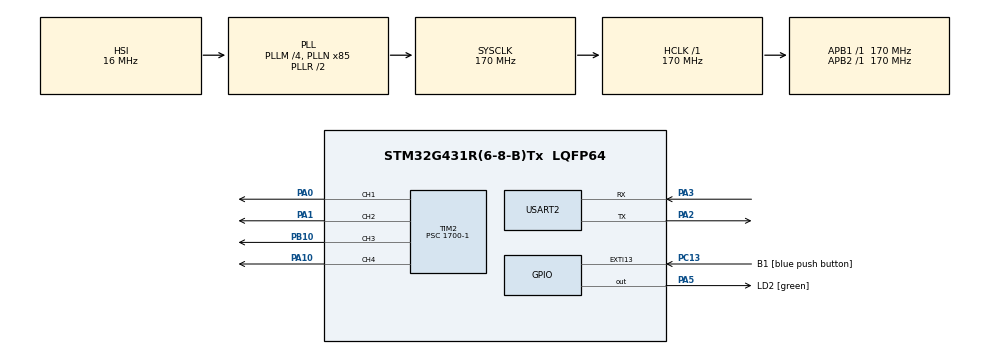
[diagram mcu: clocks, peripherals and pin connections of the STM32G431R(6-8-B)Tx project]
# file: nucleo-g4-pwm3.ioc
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Mcu.Family=STM32G4
Mcu.Name=STM32G431R(6-8-B)Tx
Mcu.Package=LQFP64
Mcu.UserConstants=SAMPLE_RANGE,1000
NVIC.PriorityGroup=NVIC_PRIORITYGROUP_4
NVIC.TIM2_IRQn=true\:0\:0\:false\:false\:true\:true\:true\:true
NVIC.USART2_IRQn=true\:0\:0\:false\:false\:true\:true\:true\:true
PA0.Signal=S_TIM2_CH1
PA1.Signal=S_TIM2_CH2
PA10.Signal=S_TIM2_CH4
PA13.GPIO_Label=T_SWDIO
PA13.Signal=SYS_JTMS-SWDIO
PA14.GPIO_Label=T_SWCLK
PA14.Signal=SYS_JTCK-SWCLK
PA2.Mode=Asynchronous
PA2.Signal=USART2_TX
PA3.Mode=Asynchronous
PA3.Signal=USART2_RX
PA5.GPIO_Label=LD2 [green]
PA5.Signal=GPIO_Output
PB10.Signal=S_TIM2_CH3
PB3.GPIO_Label=T_SWO
PB3.Signal=SYS_JTDO-SWO
PC13.GPIO_Label=B1 [blue push button]
PC13.Signal=GPXTI13
PC14-OSC32_IN.GPIO_Label=RCC_OSC32_OUT
PC14-OSC32_IN.Signal=RCC_OSC32_IN
PC15-OSC32_OUT.GPIO_Label=RCC_OSC32_OUT
PC15-OSC32_OUT.Signal=RCC_OSC32_OUT
PF0-OSC_IN.GPIO_Label=RCC_OSC_IN
PF0-OSC_IN.Signal=RCC_OSC_IN
PF1-OSC_OUT.GPIO_Label=RCC_OSC_OUT
PF1-OSC_OUT.Signal=RCC_OSC_OUT
ProjectManager.HeapSize=0x200
ProjectManager.StackSize=0x400
ProjectManager.TargetToolchain=STM32CubeIDE
RCC.ADC12Freq_Value=170000000
RCC.AHBFreq_Value=170000000
RCC.APB1Freq_Value=170000000
RCC.APB1TimFreq_Value=170000000
RCC.APB2Freq_Value=170000000
RCC.APB2TimFreq_Value=170000000
RCC.CortexFreq_Value=170000000
RCC.EXTERNAL_CLOCK_VALUE=12288000
RCC.HCLKFreq_Value=170000000
RCC.HSE_VALUE=24000000
RCC.HSI48_VALUE=48000000
RCC.HSI_VALUE=16000000
RCC.LSE_VALUE=32768
RCC.PLLM=RCC_PLLM_DIV4
RCC.PLLN=85
RCC.RTCClockSelection=RCC_RTCCLKSOURCE_LSE
RCC.SYSCLKFreq_VALUE=170000000
RCC.SYSCLKSource=RCC_SYSCLKSOURCE_PLLCLK
RCC.USBFreq_Value=170000000
RCC.VCOOutputFreq_Value=340000000
SH.S_TIM2_CH1.0=TIM2_CH1,PWM Generation1 CH1
SH.S_TIM2_CH2.0=TIM2_CH2,PWM Generation2 CH2
SH.S_TIM2_CH3.0=TIM2_CH3,PWM Generation3 CH3
SH.S_TIM2_CH4.0=TIM2_CH4,PWM Generation4 CH4
TIM2.Channel-PWM\ Generation1\ CH1=TIM_CHANNEL_1
TIM2.Channel-PWM\ Generation2\ CH2=TIM_CHANNEL_2
TIM2.Channel-PWM\ Generation3\ CH3=TIM_CHANNEL_3
TIM2.Channel-PWM\ Generation4\ CH4=TIM_CHANNEL_4
TIM2.PeriodNoDither=SAMPLE_RANGE - 1
TIM2.Prescaler=1700-1
USART2.VirtualMode-Asynchronous=VM_ASYNC
VP_SYS_VS_DBSignals.Mode=DisableDeadBatterySignals
VP_TIM2_VS_ClockSourceINT.Mode=Internal
board=NUCLEO-G431RB

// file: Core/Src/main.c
/* USER CODE BEGIN Header */
/**
  ******************************************************************************
  * @file           : main.c
  * @brief          : Main program body
  ******************************************************************************
  * @attention
  *
  * Copyright (c) 2025 STMicroelectronics.
  * All rights reserved.
  *
  * This software is licensed under terms that can be found in the LICENSE file
  * in the root directory of this software component.
  * If no LICENSE file comes with this software, it is provided AS-IS.
  *
  ******************************************************************************
  */
/* USER CODE END Header */
#include "main.h"

/* USER CODE BEGIN Includes */
#include <stdio.h>
#include <math.h>

/* USER CODE END Includes */

/* USER CODE BEGIN PD */
#define SAMPLE_DELAY 10 // [ms]
#define SAMPLE_FREQ (1000 / SAMPLE_DELAY)
#define SAMPLE_MID (SAMPLE_RANGE / 2)

/* USER CODE END PD */

TIM_HandleTypeDef htim2;

UART_HandleTypeDef huart2;

/* USER CODE BEGIN PV */

uint32_t callback_counter = 0;

uint32_t led_channels[] = {
		TIM_CHANNEL_1,
		TIM_CHANNEL_2,
		TIM_CHANNEL_3,
		TIM_CHANNEL_4
};

float angles[] = {
		0,
		0,
		0,
		0
};

float angle_changes[] = {
		1 + (2 * M_PI / SAMPLE_FREQ),
		2 + (2 * M_PI / SAMPLE_FREQ),
		0.5 + (2 * M_PI / SAMPLE_FREQ),
		0.25 + (2 * M_PI / SAMPLE_FREQ)
};

/* USER CODE END PV */

void SystemClock_Config(void);
static void MX_GPIO_Init(void);
static void MX_USART2_UART_Init(void);
static void MX_TIM2_Init(void);

/* USER CODE BEGIN 0 */

// Send printf to uart2
int _write(int fd, char *ptr, int len) {
	HAL_StatusTypeDef hstatus;

	if(fd == 1 || fd == 2) {
		hstatus = HAL_UART_Transmit(&huart2, (uint8_t*) ptr, len, HAL_MAX_DELAY);
		if(hstatus == HAL_OK) {
			return len;
		}
		else {
			return -1;
		}
	}
	return -1;
}

inline void HAL_TIM_PWM_PulseFinishedCallback(TIM_HandleTypeDef *htim){
	if(htim->Instance == TIM2){
		callback_counter++;

		for(int i = 0; i < sizeof(angles) / sizeof(angles[0]); ++i){
		  angles[i] += angle_changes[i];

		  if(angles[i] >= 2 * M_PI){
			  angles[i] -= 2 * M_PI;
		  }

		  __HAL_TIM_SET_COMPARE(&htim2, led_channels[i], SAMPLE_MID - (SAMPLE_MID * sin(angles[i])));
		}
	}
}

/* USER CODE END 0 */

int main(void)
{

  /* MCU Configuration--------------------------------------------------------*/

  /* Reset of all peripherals, Initializes the Flash interface and the Systick. */
  HAL_Init();

  /* Configure the system clock */
  SystemClock_Config();

  /* Initialize all configured peripherals */
  MX_GPIO_Init();
  MX_USART2_UART_Init();
  MX_TIM2_Init();
  /* USER CODE BEGIN 2 */

  printf("\n\n\rStarting pwm3 application\n\r");
  HAL_TIM_PWM_Start_IT(&htim2, TIM_CHANNEL_1);
  HAL_TIM_PWM_Start(&htim2, TIM_CHANNEL_2);
  HAL_TIM_PWM_Start(&htim2, TIM_CHANNEL_3);
  HAL_TIM_PWM_Start(&htim2, TIM_CHANNEL_4);

  /* USER CODE END 2 */

  /* Infinite loop */
  /* USER CODE BEGIN WHILE */

//  uint16_t pwm_value = 0;
//  int8_t pwm_change = 1;
  uint32_t now = 0;
  uint32_t loop_count = 0;
  uint32_t next_tick = 1000;
//  uint32_t next_change = 0;
  uint32_t next_sample = SAMPLE_DELAY;

  while (1)
  {
	  now = uwTick;

	  if(now >= next_tick){
		  printf("Tick %lu, loop = %lu, callback_counter = %lu \n\r", now / 1000, loop_count, callback_counter);
		  loop_count = 0;
		  next_tick = next_tick + 1000;
	  }

//	  if(now >= next_sample){
//		  for(int i = 0; i < sizeof(angles) / sizeof(angles[0]); ++i){
//			  angles[i] += angle_changes[i];
//
//			  if(angles[i] >= 2 * M_PI){
//				  angles[i] -= 2 * M_PI;
//			  }
//
//			  __HAL_TIM_SET_COMPARE(&htim2, led_channels[i], SAMPLE_MID - (SAMPLE_MID * sin(angles[i])));
//		  }
//
//		  next_sample = now + SAMPLE_DELAY;
//	  }

//	  if(now >= next_change){
//		  __HAL_TIM_SET_COMPARE(&htim2, TIM_CHANNEL_1, pwm_value);
//		  __HAL_TIM_SET_COMPARE(&htim2, TIM_CHANNEL_2, 1000 - pwm_value);
//		  __HAL_TIM_SET_COMPARE(&htim2, TIM_CHANNEL_3, pwm_value);
//		  __HAL_TIM_SET_COMPARE(&htim2, TIM_CHANNEL_4, 1000 - pwm_value);
//
//		  pwm_value += pwm_change;
//
//		  if(pwm_value == 0){
//			  pwm_change = 1;
//		  }
//		  if(pwm_value == 1000){
//			  pwm_change = -1;
//		  }
//
//		  next_change = now + 2;
//	  }

	  loop_count++;

    /* USER CODE END WHILE */

  }
}

void SystemClock_Config(void)
{
  RCC_OscInitTypeDef RCC_OscInitStruct = {0};
  RCC_ClkInitTypeDef RCC_ClkInitStruct = {0};

  /** Configure the main internal regulator output voltage
  */
  HAL_PWREx_ControlVoltageScaling(PWR_REGULATOR_VOLTAGE_SCALE1_BOOST);

  /** Initializes the RCC Oscillators according to the specified parameters
  * in the RCC_OscInitTypeDef structure.
  */
  RCC_OscInitStruct.OscillatorType = RCC_OSCILLATORTYPE_HSI;
  RCC_OscInitStruct.HSIState = RCC_HSI_ON;
  RCC_OscInitStruct.HSICalibrationValue = RCC_HSICALIBRATION_DEFAULT;
  RCC_OscInitStruct.PLL.PLLState = RCC_PLL_ON;
  RCC_OscInitStruct.PLL.PLLSource = RCC_PLLSOURCE_HSI;
  RCC_OscInitStruct.PLL.PLLM = RCC_PLLM_DIV4;
  RCC_OscInitStruct.PLL.PLLN = 85;
  RCC_OscInitStruct.PLL.PLLP = RCC_PLLP_DIV2;
  RCC_OscInitStruct.PLL.PLLQ = RCC_PLLQ_DIV2;
  RCC_OscInitStruct.PLL.PLLR = RCC_PLLR_DIV2;
  if (HAL_RCC_OscConfig(&RCC_OscInitStruct) != HAL_OK)
  {
    Error_Handler();
  }

  /** Initializes the CPU, AHB and APB buses clocks
  */
  RCC_ClkInitStruct.ClockType = RCC_CLOCKTYPE_HCLK|RCC_CLOCKTYPE_SYSCLK
                              |RCC_CLOCKTYPE_PCLK1|RCC_CLOCKTYPE_PCLK2;
  RCC_ClkInitStruct.SYSCLKSource = RCC_SYSCLKSOURCE_PLLCLK;
  RCC_ClkInitStruct.AHBCLKDivider = RCC_SYSCLK_DIV1;
  RCC_ClkInitStruct.APB1CLKDivider = RCC_HCLK_DIV1;
  RCC_ClkInitStruct.APB2CLKDivider = RCC_HCLK_DIV1;

  if (HAL_RCC_ClockConfig(&RCC_ClkInitStruct, FLASH_LATENCY_4) != HAL_OK)
  {
    Error_Handler();
  }
}

static void MX_TIM2_Init(void)
{

  TIM_ClockConfigTypeDef sClockSourceConfig = {0};
  TIM_MasterConfigTypeDef sMasterConfig = {0};
  TIM_OC_InitTypeDef sConfigOC = {0};

  htim2.Instance = TIM2;
  htim2.Init.Prescaler = 1700-1;
  htim2.Init.CounterMode = TIM_COUNTERMODE_UP;
  htim2.Init.Period = 999;
  htim2.Init.ClockDivision = TIM_CLOCKDIVISION_DIV1;
  htim2.Init.AutoReloadPreload = TIM_AUTORELOAD_PRELOAD_DISABLE;
  if (HAL_TIM_Base_Init(&htim2) != HAL_OK)
  {
    Error_Handler();
  }
  sClockSourceConfig.ClockSource = TIM_CLOCKSOURCE_INTERNAL;
  if (HAL_TIM_ConfigClockSource(&htim2, &sClockSourceConfig) != HAL_OK)
  {
    Error_Handler();
  }
  if (HAL_TIM_PWM_Init(&htim2) != HAL_OK)
  {
    Error_Handler();
  }
  sMasterConfig.MasterOutputTrigger = TIM_TRGO_RESET;
  sMasterConfig.MasterSlaveMode = TIM_MASTERSLAVEMODE_DISABLE;
  if (HAL_TIMEx_MasterConfigSynchronization(&htim2, &sMasterConfig) != HAL_OK)
  {
    Error_Handler();
  }
  sConfigOC.OCMode = TIM_OCMODE_PWM1;
  sConfigOC.Pulse = 0;
  sConfigOC.OCPolarity = TIM_OCPOLARITY_HIGH;
  sConfigOC.OCFastMode = TIM_OCFAST_DISABLE;
  if (HAL_TIM_PWM_ConfigChannel(&htim2, &sConfigOC, TIM_CHANNEL_1) != HAL_OK)
  {
    Error_Handler();
  }
  if (HAL_TIM_PWM_ConfigChannel(&htim2, &sConfigOC, TIM_CHANNEL_2) != HAL_OK)
  {
    Error_Handler();
  }
  if (HAL_TIM_PWM_ConfigChannel(&htim2, &sConfigOC, TIM_CHANNEL_3) != HAL_OK)
  {
    Error_Handler();
  }
  if (HAL_TIM_PWM_ConfigChannel(&htim2, &sConfigOC, TIM_CHANNEL_4) != HAL_OK)
  {
    Error_Handler();
  }
  HAL_TIM_MspPostInit(&htim2);

}

static void MX_USART2_UART_Init(void)
{

  huart2.Instance = USART2;
  huart2.Init.BaudRate = 115200;
  huart2.Init.WordLength = UART_WORDLENGTH_8B;
  huart2.Init.StopBits = UART_STOPBITS_1;
  huart2.Init.Parity = UART_PARITY_NONE;
  huart2.Init.Mode = UART_MODE_TX_RX;
  huart2.Init.HwFlowCtl = UART_HWCONTROL_NONE;
  huart2.Init.OverSampling = UART_OVERSAMPLING_16;
  huart2.Init.OneBitSampling = UART_ONE_BIT_SAMPLE_DISABLE;
  huart2.Init.ClockPrescaler = UART_PRESCALER_DIV1;
  huart2.AdvancedInit.AdvFeatureInit = UART_ADVFEATURE_NO_INIT;
  if (HAL_UART_Init(&huart2) != HAL_OK)
  {
    Error_Handler();
  }
  if (HAL_UARTEx_SetTxFifoThreshold(&huart2, UART_TXFIFO_THRESHOLD_1_8) != HAL_OK)
  {
    Error_Handler();
  }
  if (HAL_UARTEx_SetRxFifoThreshold(&huart2, UART_RXFIFO_THRESHOLD_1_8) != HAL_OK)
  {
    Error_Handler();
  }
  if (HAL_UARTEx_DisableFifoMode(&huart2) != HAL_OK)
  {
    Error_Handler();
  }

}

static void MX_GPIO_Init(void)
{
  GPIO_InitTypeDef GPIO_InitStruct = {0};

  /* GPIO Ports Clock Enable */
  __HAL_RCC_GPIOC_CLK_ENABLE();
  __HAL_RCC_GPIOF_CLK_ENABLE();
  __HAL_RCC_GPIOA_CLK_ENABLE();
  __HAL_RCC_GPIOB_CLK_ENABLE();

  /*Configure GPIO pin Output Level */
  HAL_GPIO_WritePin(LD2_GPIO_Port, LD2_Pin, GPIO_PIN_RESET);

  /*Configure GPIO pin : B1_Pin */
  GPIO_InitStruct.Pin = B1_Pin;
  GPIO_InitStruct.Mode = GPIO_MODE_IT_RISING;
  GPIO_InitStruct.Pull = GPIO_NOPULL;
  HAL_GPIO_Init(B1_GPIO_Port, &GPIO_InitStruct);

  /*Configure GPIO pin : LD2_Pin */
  GPIO_InitStruct.Pin = LD2_Pin;
  GPIO_InitStruct.Mode = GPIO_MODE_OUTPUT_PP;
  GPIO_InitStruct.Pull = GPIO_NOPULL;
  GPIO_InitStruct.Speed = GPIO_SPEED_FREQ_LOW;
  HAL_GPIO_Init(LD2_GPIO_Port, &GPIO_InitStruct);

}

void Error_Handler(void)
{
  __disable_irq();
  while (1)
  {
  }
}
